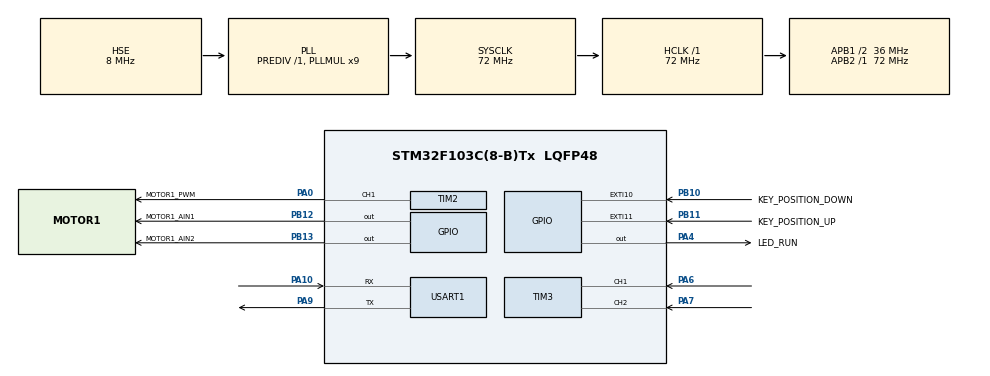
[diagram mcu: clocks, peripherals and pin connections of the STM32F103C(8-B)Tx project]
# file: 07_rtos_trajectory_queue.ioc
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FREERTOS.INCLUDE_vTaskDelayUntil=1
FREERTOS.Queues01=TrajectoryQueue,32,4,1,Dynamic,NULL,NULL
FREERTOS.Tasks01=defaultTask,0,128,StartDefaultTask,Default,NULL,Dynamic,NULL,NULL;UartTask,-2,256,StartUartTask,Default,NULL,Dynamic,NULL,NULL;ControlTask,0,256,StartControlTask,Default,NULL,Dynamic,NULL,NULL;ButtonTask,-2,128,StartButtonTask,Default,NULL,Dynamic,NULL,NULL;TrajectoryTask,-3,256,StartTrajectoryTask,Default,NULL,Dynamic,NULL,NULL
FREERTOS.configTOTAL_HEAP_SIZE=6144
Mcu.Family=STM32F1
Mcu.Name=STM32F103C(8-B)Tx
Mcu.Package=LQFP48
NVIC.EXTI15_10_IRQn=true\:5\:0\:false\:false\:true\:true\:true\:true\:true
NVIC.PriorityGroup=NVIC_PRIORITYGROUP_4
NVIC.TIM4_IRQn=true\:15\:0\:false\:false\:true\:false\:false\:true\:true
NVIC.TimeBase=TIM4_IRQn
NVIC.TimeBaseIP=TIM4
PA0-WKUP.GPIO_Label=MOTOR1_PWM
PA0-WKUP.Signal=S_TIM2_CH1_ETR
PA0-WKUP.Stacked=true
PA10.Mode=Asynchronous
PA10.Signal=USART1_RX
PA13.Mode=Serial_Wire
PA13.Signal=SYS_JTMS-SWDIO
PA14.Mode=Serial_Wire
PA14.Signal=SYS_JTCK-SWCLK
PA4.GPIO_Label=LED_RUN
PA4.PinState=GPIO_PIN_SET
PA4.Signal=GPIO_Output
PA6.Signal=S_TIM3_CH1
PA7.Signal=S_TIM3_CH2
PA9.Mode=Asynchronous
PA9.Signal=USART1_TX
PB10.GPIO_Label=KEY_POSITION_DOWN
PB10.GPIO_ModeDefaultEXTI=GPIO_MODE_IT_FALLING
PB10.GPIO_PuPd=GPIO_PULLUP
PB10.Signal=GPXTI10
PB11.GPIO_Label=KEY_POSITION_UP
PB11.GPIO_ModeDefaultEXTI=GPIO_MODE_IT_FALLING
PB11.GPIO_PuPd=GPIO_PULLUP
PB11.Signal=GPXTI11
PB12.GPIO_Label=MOTOR1_AIN1
PB12.Signal=GPIO_Output
PB13.GPIO_Label=MOTOR1_AIN2
PB13.Signal=GPIO_Output
PD0-OSC_IN.Mode=HSE-External-Oscillator
PD0-OSC_IN.Signal=RCC_OSC_IN
PD1-OSC_OUT.Mode=HSE-External-Oscillator
PD1-OSC_OUT.Signal=RCC_OSC_OUT
ProjectManager.HeapSize=0x200
ProjectManager.StackSize=0x400
ProjectManager.TargetToolchain=CMake
RCC.AHBFreq_Value=72000000
RCC.APB1CLKDivider=RCC_HCLK_DIV2
RCC.APB1Freq_Value=36000000
RCC.APB1TimFreq_Value=72000000
RCC.APB2Freq_Value=72000000
RCC.APB2TimFreq_Value=72000000
RCC.HCLKFreq_Value=72000000
RCC.PLLMUL=RCC_PLL_MUL9
RCC.PLLSourceVirtual=RCC_PLLSOURCE_HSE
RCC.SYSCLKFreq_VALUE=72000000
RCC.SYSCLKSource=RCC_SYSCLKSOURCE_PLLCLK
RCC.USBFreq_Value=72000000
SH.S_TIM2_CH1_ETR.0=TIM2_CH1,PWM Generation1 CH1
SH.S_TIM3_CH1.0=TIM3_CH1,Encoder_Interface
SH.S_TIM3_CH2.0=TIM3_CH2,Encoder_Interface
TIM2.Channel-PWM\ Generation1\ CH1=TIM_CHANNEL_1
TIM2.Period=999
TIM2.Prescaler=71
TIM3.EncoderMode=TIM_ENCODERMODE_TI12
USART1.VirtualMode=VM_ASYNC
VP_FREERTOS_VS_CMSIS_V1.Mode=CMSIS_V1
VP_SYS_VS_tim4.Mode=TIM4
VP_TIM2_VS_ClockSourceINT.Mode=Internal
board=custom

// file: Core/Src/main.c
/* USER CODE BEGIN Header */
/**
  ******************************************************************************
  * @file           : main.c
  * @brief          : Main program body
  ******************************************************************************
  * @attention
  *
  * Copyright (c) 2026 STMicroelectronics.
  * All rights reserved.
  *
  * This software is licensed under terms that can be found in the LICENSE file
  * in the root directory of this software component.
  * If no LICENSE file comes with this software, it is provided AS-IS.
  *
  ******************************************************************************
  */
/* USER CODE END Header */
#include "main.h"
#include "cmsis_os.h"
#include "tim.h"
#include "usart.h"
#include "gpio.h"

/* USER CODE BEGIN Includes */
// #include "app_bridge.h"
#include "task_wrapper.h"
/* USER CODE END Includes */

void SystemClock_Config(void);
void MX_FREERTOS_Init(void);

int main(void)
{

  /* MCU Configuration--------------------------------------------------------*/

  /* Reset of all peripherals, Initializes the Flash interface and the Systick. */
  HAL_Init();

  /* Configure the system clock */
  SystemClock_Config();

  /* Initialize all configured peripherals */
  MX_GPIO_Init();
  MX_USART1_UART_Init();
  MX_TIM3_Init();
  MX_TIM2_Init();
  /* USER CODE BEGIN 2 */
  Module_Init();
  /* USER CODE END 2 */

  /* Call init function for freertos objects (in cmsis_os2.c) */
  MX_FREERTOS_Init();

  /* Start scheduler */
  osKernelStart();

  /* We should never get here as control is now taken by the scheduler */

  /* Infinite loop */
  while (1)
  {

  }
}

void SystemClock_Config(void)
{
  RCC_OscInitTypeDef RCC_OscInitStruct = {0};
  RCC_ClkInitTypeDef RCC_ClkInitStruct = {0};

  /** Initializes the RCC Oscillators according to the specified parameters
  * in the RCC_OscInitTypeDef structure.
  */
  RCC_OscInitStruct.OscillatorType = RCC_OSCILLATORTYPE_HSE;
  RCC_OscInitStruct.HSEState = RCC_HSE_ON;
  RCC_OscInitStruct.HSEPredivValue = RCC_HSE_PREDIV_DIV1;
  RCC_OscInitStruct.HSIState = RCC_HSI_ON;
  RCC_OscInitStruct.PLL.PLLState = RCC_PLL_ON;
  RCC_OscInitStruct.PLL.PLLSource = RCC_PLLSOURCE_HSE;
  RCC_OscInitStruct.PLL.PLLMUL = RCC_PLL_MUL9;
  if (HAL_RCC_OscConfig(&RCC_OscInitStruct) != HAL_OK)
  {
    Error_Handler();
  }

  /** Initializes the CPU, AHB and APB buses clocks
  */
  RCC_ClkInitStruct.ClockType = RCC_CLOCKTYPE_HCLK|RCC_CLOCKTYPE_SYSCLK
                              |RCC_CLOCKTYPE_PCLK1|RCC_CLOCKTYPE_PCLK2;
  RCC_ClkInitStruct.SYSCLKSource = RCC_SYSCLKSOURCE_PLLCLK;
  RCC_ClkInitStruct.AHBCLKDivider = RCC_SYSCLK_DIV1;
  RCC_ClkInitStruct.APB1CLKDivider = RCC_HCLK_DIV2;
  RCC_ClkInitStruct.APB2CLKDivider = RCC_HCLK_DIV1;

  if (HAL_RCC_ClockConfig(&RCC_ClkInitStruct, FLASH_LATENCY_2) != HAL_OK)
  {
    Error_Handler();
  }
}

void HAL_TIM_PeriodElapsedCallback(TIM_HandleTypeDef *htim)
{
  if (htim->Instance == TIM4)
  {
    HAL_IncTick();
  }
}

void Error_Handler(void)
{
  __disable_irq();
  while (1)
  {
  }
}

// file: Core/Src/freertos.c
/* USER CODE BEGIN Header */
/**
  ******************************************************************************
  * File Name          : freertos.c
  * Description        : Code for freertos applications
  ******************************************************************************
  * @attention
  *
  * Copyright (c) 2026 STMicroelectronics.
  * All rights reserved.
  *
  * This software is licensed under terms that can be found in the LICENSE file
  * in the root directory of this software component.
  * If no LICENSE file comes with this software, it is provided AS-IS.
  *
  ******************************************************************************
  */
/* USER CODE END Header */

#include "FreeRTOS.h"
#include "task.h"
#include "main.h"
#include "cmsis_os.h"

/* USER CODE BEGIN Includes */
#include "usart.h"
#include "string.h"
#include "stdio.h"
#include "task_wrapper.h"
// #include "app_bridge.h"
/* USER CODE END Includes */

osThreadId defaultTaskHandle;
osThreadId UartTaskHandle;
osThreadId ControlTaskHandle;
osThreadId ButtonTaskHandle;
osThreadId TrajectoryTaskHandle;
osMessageQId TrajectoryQueueHandle;

void StartDefaultTask(void const * argument);
void StartUartTask(void const * argument);
void StartControlTask(void const * argument);
void StartButtonTask(void const * argument);
void StartTrajectoryTask(void const * argument);

void MX_FREERTOS_Init(void); /* (MISRA C 2004 rule 8.1) */

/* GetIdleTaskMemory prototype (linked to static allocation support) */
void vApplicationGetIdleTaskMemory( StaticTask_t **ppxIdleTaskTCBBuffer, StackType_t **ppxIdleTaskStackBuffer, uint32_t *pulIdleTaskStackSize );

/* USER CODE BEGIN GET_IDLE_TASK_MEMORY */
static StaticTask_t xIdleTaskTCBBuffer;
static StackType_t xIdleStack[configMINIMAL_STACK_SIZE];

void vApplicationGetIdleTaskMemory( StaticTask_t **ppxIdleTaskTCBBuffer, StackType_t **ppxIdleTaskStackBuffer, uint32_t *pulIdleTaskStackSize )
{
  *ppxIdleTaskTCBBuffer = &xIdleTaskTCBBuffer;
  *ppxIdleTaskStackBuffer = &xIdleStack[0];
  *pulIdleTaskStackSize = configMINIMAL_STACK_SIZE;
  /* place for user code */
}
/* USER CODE END GET_IDLE_TASK_MEMORY */

void MX_FREERTOS_Init(void) {

  /* Create the queue(s) */
  /* definition and creation of TrajectoryQueue */
  osMessageQDef(TrajectoryQueue, 32, 4);
  TrajectoryQueueHandle = osMessageCreate(osMessageQ(TrajectoryQueue), NULL);

  /* Create the thread(s) */
  /* definition and creation of defaultTask */
  osThreadDef(defaultTask, StartDefaultTask, osPriorityNormal, 0, 128);
  defaultTaskHandle = osThreadCreate(osThread(defaultTask), NULL);

  /* definition and creation of UartTask */
  osThreadDef(UartTask, StartUartTask, osPriorityLow, 0, 256);
  UartTaskHandle = osThreadCreate(osThread(UartTask), NULL);

  /* definition and creation of ControlTask */
  osThreadDef(ControlTask, StartControlTask, osPriorityNormal, 0, 256);
  ControlTaskHandle = osThreadCreate(osThread(ControlTask), NULL);

  /* definition and creation of ButtonTask */
  osThreadDef(ButtonTask, StartButtonTask, osPriorityLow, 0, 128);
  ButtonTaskHandle = osThreadCreate(osThread(ButtonTask), NULL);

  /* definition and creation of TrajectoryTask */
  osThreadDef(TrajectoryTask, StartTrajectoryTask, osPriorityIdle, 0, 256);
  TrajectoryTaskHandle = osThreadCreate(osThread(TrajectoryTask), NULL);

  /* USER CODE BEGIN RTOS_THREADS */
  /* add threads, ... */
  Module_RegisterButtonTaskHandle((void*) ButtonTaskHandle);
  Module_RegisterTrajectoryTaskHandle((void*) TrajectoryTaskHandle);
  Module_RegisterTrajectoryQueueHandle((void*) TrajectoryQueueHandle);
  /* USER CODE END RTOS_THREADS */

}

void StartDefaultTask(void const * argument)
{
  /* USER CODE BEGIN StartDefaultTask */
  /* Infinite loop */
  const char msg[] = "FreeRTOS Alive\r\n";

  for (;;)
  {
      HAL_UART_Transmit(
          &huart1,
          (uint8_t*)msg,
          sizeof(msg) - 1,
          100
      );

      osDelay(1000);
    }
  /* USER CODE END StartDefaultTask */
}

void StartUartTask(void const * argument)
{
  /* USER CODE BEGIN StartUartTask */
  LoggerTask(Module_GetSystemContext());
  /* USER CODE END StartUartTask */
}

void StartControlTask(void const * argument)
{
  /* USER CODE BEGIN StartControlTask */
  ControlTask(Module_GetSystemContext());
  /* USER CODE END StartControlTask */
}

void StartButtonTask(void const * argument)
{
  /* USER CODE BEGIN StartButtonTask */
  /* Infinite loop */
   ButtonTask(Module_GetSystemContext());
  /* USER CODE END StartButtonTask */
}

void StartTrajectoryTask(void const * argument)
{
  /* USER CODE BEGIN StartTrajectoryTask */
  /* Infinite loop */
  TrajectoryTask(Module_GetSystemContext());
  /* USER CODE END StartTrajectoryTask */
}
